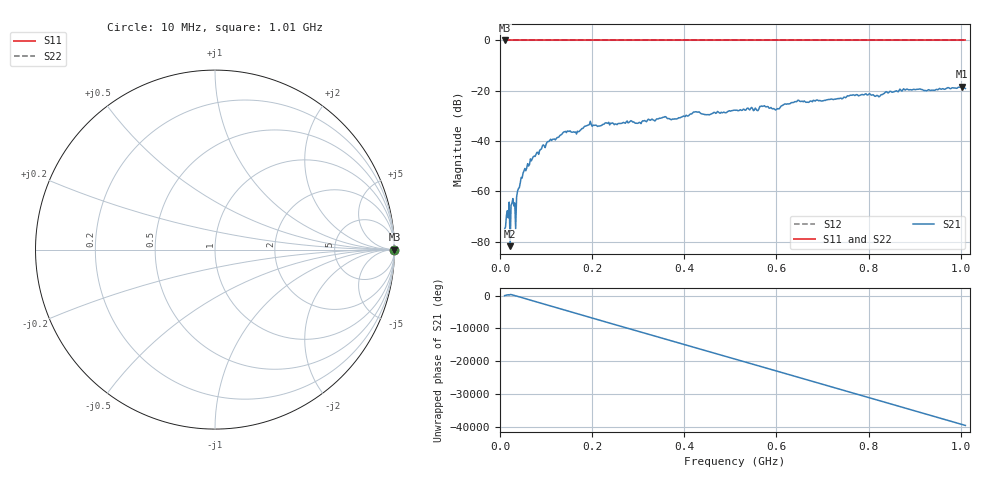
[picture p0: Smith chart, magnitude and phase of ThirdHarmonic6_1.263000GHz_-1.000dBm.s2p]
! 8/16/2025 1:36:16 PM
! C:\ANRITSUVNA\TEMP\TEMP.S2P
! CHANNEL.1
! TR.MEASUREMENT
! RAW.DATA
! RF.CORRECTION.OFF
! AVERAGING.OFF
! IF.BANDWIDTH: 5KHZ
! SWEEPTYPE:  FREQ.SWEEP(Linear)
! Reference Plane Port Info
! PORT:  PORT1  PORT2
! DISTANCE:  0  m  0  m
! TIME:  0  s  0  s
! PHASE.OFFSET:  0  deg.  0  deg.
! LOSS:  0  dB  0  dB
! REF.LOSS:  0  dB  0  dB
! REF.FREQ:  0  Hz  0  Hz
! Power Info
! POWER:  -20  dBm  -20  dBm
! EFF.POWER:  -20  dBm  -20  dBm
! SOURCE.ATTEN:  0  dB  0  dB
! TEST.ATTEN:  0  dB  0  dB
# GHZ S RI R 50.0
! FREQ.GHZ  S11RE  S11IM  S21RE  S21IM  S12RE  S12IM  S22RE  S22IM
!; PortSelection: Port_12
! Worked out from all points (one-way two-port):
!   501 points, 10 MHz to 1.01 GHz, reference 50 ohm
!   highest |S21| = -18.33 dB at 1.002 GHz (marker M1); lowest = -81.8 dB at 22 MHz (marker M2)
!   lowest |S11| = 0.0 dB at 10 MHz (marker M3)
!   |S11| at or under -10 dB: nowhere
!   |S22| runs from 0.0 to 0.0 dB; largest |S21 - S12| = 1.1
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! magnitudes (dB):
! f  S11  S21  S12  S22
! 10 MHz  0.0  -75.0  0.0  0.0
! 16 MHz  0.0  -67.6  0.0  0.0
! 22 MHz  0.0  -81.8  0.0  0.0
! 26 MHz  0.0  -64.6  0.0  0.0
! 28 MHz  0.0  -62.8  0.0  0.0
! 30 MHz  0.0  -65.8  0.0  0.0
! 34 MHz  0.0  -74.9  0.0  0.0
! 42 MHz  0.0  -58.4  0.0  0.0
! 50 MHz  0.0  -52.7  0.0  0.0
! 70 MHz  0.0  -47.1  0.0  0.0
! 106 MHz  0.0  -40.2  0.0  0.0
! 178 MHz  0.0  -35.0  0.0  0.0
! 194 MHz  0.0  -33.4  0.0  0.0
! 344 MHz  0.0  -31.2  0.0  0.0
! 510 MHz  0.0  -27.7  0.0  0.0
! 570 MHz  0.0  -26.2  0.0  0.0
! 602 MHz  0.0  -27.1  0.0  0.0
! 644 MHz  0.0  -24.3  0.0  0.0
! 678 MHz  0.0  -24.4  0.0  0.0
! 844 MHz  0.0  -20.6  0.0  0.0
! 1.002 GHz  0.0  -18.3  0.0  0.0
! 1.01 GHz  0.0  -19.1  0.0  0.0
